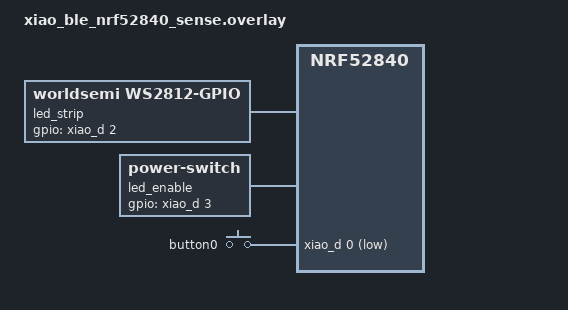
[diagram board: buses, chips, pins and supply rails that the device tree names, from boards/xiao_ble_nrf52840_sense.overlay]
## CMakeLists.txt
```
#-------------------------------------------------------------------------------
# Zephyr Example Application
#
# Copyright (c) 2021 Nordic Semiconductor ASA
# SPDX-License-Identifier: Apache-2.0

cmake_minimum_required(VERSION 3.13.1)
find_package(Zephyr REQUIRED HINTS $ENV{ZEPHYR_BASE})

project(app LANGUAGES C)

target_sources(app PRIVATE src/main.c)
target_sources(app PRIVATE src/orientation.c)
target_sources(app PRIVATE src/hsv2rgb.c)
target_sources(app PRIVATE src/bleled.c)
target_sources(app PRIVATE src/blename.c)
```

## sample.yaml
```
sample:
  description: Hello World sample, the simplest Zephyr
    application
  name: hello world
common:
  tags: introduction
  integration_platforms:
    - native_sim
  harness: console
  harness_config:
    type: one_line
    regex:
      - "Hello World! (.*)"
tests:
  sample.basic.helloworld:
    tags: introduction
```

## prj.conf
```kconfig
# Copyright (c) 2021 Nordic Semiconductor ASA
# SPDX-License-Identifier: Apache-2.0
#
# This file contains selected Kconfig options for the application.
CONFIG_SYSTEM_WORKQUEUE_STACK_SIZE=4096

CONFIG_GPIO=y # loadswitch
CONFIG_LOG=y
CONFIG_LED_STRIP=y # LEDs
CONFIG_LED_STRIP_LOG_LEVEL_DBG=y #LEDs
CONFIG_PM_DEVICE=y # Sleep
CONFIG_POWEROFF=y #Sleep
CONFIG_I2C=y
CONFIG_SENSOR=y
CONFIG_LSM6DSL_TRIGGER_GLOBAL_THREAD=y

CONFIG_CBPRINTF_FP_SUPPORT=y
CONFIG_STDOUT_CONSOLE=y


CONFIG_BT=y
CONFIG_BT_PERIPHERAL=y
CONFIG_BT_DEVICE_NAME="Yoyo"
CONFIG_BT_DEVICE_APPEARANCE=0

CONFIG_BT_DEVICE_NAME_DYNAMIC=y
CONFIG_HEAP_MEM_POOL_SIZE=4096
CONFIG_ASSERT=y
CONFIG_MULTITHREADING=y
# CONFIG_SMP=y
CONFIG_MAIN_THREAD_PRIORITY=10

CONFIG_NET_BUF_LOG_LEVEL_OFF=y
CONFIG_BT_LOG_LEVEL_OFF=y
CONFIG_FLASH=y
```

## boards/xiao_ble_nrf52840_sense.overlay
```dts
#include <zephyr/dt-bindings/gpio/gpio.h>
#include <zephyr/dt-bindings/led/led.h>
#include <zephyr/dt-bindings/input/input-event-codes.h>

/ {
    cpus {
		// needed for correct ws2812 timing
        cpu@0 {
            clock-frequency = <64000000>;
        };
    };
	led_strip: ws2812 {
		compatible = "worldsemi,ws2812-gpio";

		chain-length = <150>; /* arbitrary; change at will */
		color-mapping = <LED_COLOR_ID_GREEN
				 LED_COLOR_ID_RED
				 LED_COLOR_ID_BLUE>;
		/* P0: */
		gpios = <&xiao_d 2 GPIO_ACTIVE_HIGH>;
        reset-delay = <3200>;

        delay-t1h = <51>;
        delay-t1l = <29>;
        delay-t0h = <26>;
        delay-t0l = <54>;
	};

    led_enable: led_enable {
        compatible = "power-switch";
		gpios = <&xiao_d 3 GPIO_ACTIVE_HIGH>;
	};

	buttons {
		compatible = "gpio-keys";
		no-disconnect;
		debounce-interval-ms = <0>;
		button0: button_0 {
			gpios = <&xiao_d 0 GPIO_ACTIVE_LOW>;
		};
	};

	aliases {
		led-strip = &led_strip;
		led-enable = &led_enable;
		sw0 = &button0;
	};


};
```

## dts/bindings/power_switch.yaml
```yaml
# Copyright (c) 2023 Libre Solar Technologies GmbH
# SPDX-License-Identifier: Apache-2.0

description: GPIO pin to switch a power output on or off

compatible: "power-switch"

properties:
  gpios:
    type: phandle-array
    required: true
    description: |
      The GPIO connected to the gate driver for the MOSFET.
```

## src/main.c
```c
/*
 * Copyright (c) 2017 Linaro Limited
 * Copyright (c) 2018 Intel Corporation
 * Copyright (c) 2024 TOKITA Hiroshi
 *
 * SPDX-License-Identifier: Apache-2.0
 */

#include <errno.h>
#include <string.h>
#include <math.h>

#include <zephyr/logging/log.h>

#include <zephyr/kernel.h>
#include <zephyr/drivers/led_strip.h>
#include <zephyr/device.h>
#include <zephyr/sys/util.h>
#include <zephyr/drivers/gpio.h>
#include <zephyr/sys/poweroff.h>
#include <zephyr/pm/device.h>
#include <zephyr/drivers/timer/nrf_grtc_timer.h>
#include <zephyr/drivers/sensor.h>
#include <zephyr/bluetooth/bluetooth.h>
#include <zephyr/bluetooth/hci.h>
#include <zephyr/bluetooth/conn.h>
#include <zephyr/bluetooth/uuid.h>
#include <zephyr/bluetooth/gatt.h>
#include <zephyr/settings/settings.h>
#include <zephyr/sys/printk.h>
#include <zephyr/sys/byteorder.h>
#include <zephyr/drivers/flash.h>


#include "orientation.h"
#include "hsv2rgb.h"
#include "bleled.h"
#include "blename.h"

// #define DEBUG

// Define Devicetree Aliases
#define STRIP_NODE		DT_ALIAS(led_strip)

#if DT_NODE_HAS_PROP(DT_ALIAS(led_strip), chain_length)
#define STRIP_NUM_PIXELS	DT_PROP(DT_ALIAS(led_strip), chain_length)
#else
#error Unable to determine length of LED strip
#endif
#define SPI_FLASH_COMPAT nordic_qspi_nor

// define bluetooth characteristic UUID
#define RX_CHARACTERISTIC  0x94, 0xF5, 0x56, 0x67, 0x86, 0x49, 0x1D, 0xA4, \
			                    0x34, 0x41, 0x32, 0x69, 0x00, 0x0D, 0x9F, 0x9D
#define RX_CHARACTERISTIC_UUID  BT_UUID_DECLARE_128(RX_CHARACTERISTIC)

static K_SEM_DEFINE(ble_init_ok, 0, 1);

bool update = false;

#define CONFIG_SAMPLE_LED_UPDATE_DELAY 50
#define DELAY_TIME K_MSEC(CONFIG_SAMPLE_LED_UPDATE_DELAY)

#define LED_ENABLE DT_ALIAS(led_enable)
#define BUTTON0 DT_ALIAS(sw0)

static const struct device *const strip = DEVICE_DT_GET(STRIP_NODE);
static const struct gpio_dt_spec enable = GPIO_DT_SPEC_GET(LED_ENABLE, gpios);
static const struct gpio_dt_spec button = GPIO_DT_SPEC_GET_OR(BUTTON0, gpios, {0});
static const struct device *flash_dev = DEVICE_DT_GET_ONE(SPI_FLASH_COMPAT);
const struct device *const lsm6dsl_dev = DEVICE_DT_GET_ONE(st_lsm6dsl);
const struct device *const cons = DEVICE_DT_GET(DT_CHOSEN(zephyr_console));

static uint32_t prevTimeMs;

static bool orientationInit;
struct bt_conn* currConn;
static char name[MAX_NAME_LENGTH + 1];

#define MAX_BRIGHTNESS 0x25
// Create RGB Colors
#define RGB(_r, _g, _b) { .r = (_r), .g = (_g), .b = (_b) }

static const struct led_rgb red = RGB(MAX_BRIGHTNESS, 0x00, 0x00);
static struct led_rgb bluetoothColor = RGB(0x00, 0x00, MAX_BRIGHTNESS);

static struct gpio_callback button_cb_data;

static struct led_rgb pixels[STRIP_NUM_PIXELS];

enum STATE {
	OFF, BLUETOOTH, FIXED, WAVE, IMU
};

volatile enum STATE currentState = BLUETOOTH;
static bool bleOn = false;

static enum STATE nextState(enum STATE currentState) {
	switch(currentState){
		case OFF:
			return FIXED;
			break;
		case BLUETOOTH:
			return FIXED;
			break;
		case FIXED:
			return WAVE;
			break;
		case WAVE:
			return IMU;
			break;
		case IMU:
			return OFF;
			break;
	}
	return FIXED;
}

// button callback to switch states
void buttonPressed(const struct device *dev, struct gpio_callback *cb, uint32_t pins) {
	currentState = nextState(currentState);
}

// Sensor callbacks to update position
static void lsm6dsl_trigger_handler(const struct device *dev,
				    const struct sensor_trigger *trig)
{
	uint32_t currTimeMs = k_uptime_get_32();
	static struct sensor_value accel_x, accel_y, accel_z;
	static struct sensor_value gyro_x, gyro_y, gyro_z;

	sensor_sample_fetch_chan(dev, SENSOR_CHAN_ACCEL_XYZ);
	sensor_channel_get(dev, SENSOR_CHAN_ACCEL_X, &accel_x);
	sensor_channel_get(dev, SENSOR_CHAN_ACCEL_Y, &accel_y);
	sensor_channel_get(dev, SENSOR_CHAN_ACCEL_Z, &accel_z);

	// x -> pitch, y -> roll, z -> yaw
	sensor_sample_fetch_chan(dev, SENSOR_CHAN_GYRO_XYZ);
	sensor_channel_get(dev, SENSOR_CHAN_GYRO_X, &gyro_x);
	sensor_channel_get(dev, SENSOR_CHAN_GYRO_Y, &gyro_y);
	sensor_channel_get(dev, SENSOR_CHAN_GYRO_Z, &gyro_z);

	double accYval = sensor_value_to_double(&accel_y) * 3.1415 / 180.0;
	double accXval = sensor_value_to_double(&accel_x) * 3.1415 / 180.0;
	double accZval = sensor_value_to_double(&accel_z) * 3.1415 / 180.0;

	double pitch = atan2(accYval, accZval);
	double roll = atan2(accXval, accZval);

	if (!orientationInit) {
		initialize(pitch, roll, 0.0);
		orientationInit = true;
	}
	else {
		update_pitch(pitch, sensor_value_to_double(&gyro_x), (currTimeMs - prevTimeMs)/1000.0);
		update_roll(roll, sensor_value_to_double(&gyro_y), (currTimeMs - prevTimeMs)/1000.0);
		update_yaw(sensor_value_to_double(&gyro_z), (currTimeMs - prevTimeMs)/1000.0);
	}

	prevTimeMs = currTimeMs;
}

// BLE characteristics
#define DEVICE_NAME CONFIG_BT_DEVICE_NAME
#define DEVICE_LEN (sizeof(DEVICE_NAME)-1)

static uint8_t mfg_data[] = { 'B', 'a', 't', 'k', 'a', 'y' };

static const struct bt_data ad[] = {
	BT_DATA_BYTES(BT_DATA_FLAGS, (BT_LE_AD_GENERAL | BT_LE_AD_NO_BREDR)),
	BT_DATA_BYTES(BT_DATA_UUID128_ALL, RX_CHARACTERISTIC),
	BT_DATA(BT_DATA_MANUFACTURER_DATA, mfg_data, 6),
};

static struct bt_data sd[] = {
	BT_DATA(BT_DATA_NAME_COMPLETE, CONFIG_BT_DEVICE_NAME, sizeof(CONFIG_BT_DEVICE_NAME) - 1),
};

// bluetooth connection callback
static void connected(struct bt_conn *conn, uint8_t err)
{
	#ifdef DEBUG
	if (err) {
		printk("Connection failed, err 0x%02x %s\n", err, bt_hci_err_to_str(err));
	} else {
		printk("Connected\n");
	}
	#endif
	if (!bleOn) {
		bt_conn_disconnect(conn, BT_HCI_ERR_REMOTE_USER_TERM_CONN);
	}
	currConn = conn;
}

// bluetooth disconnect callback
static void disconnected(struct bt_conn *conn, uint8_t reason)
{
	#ifdef DEBUG
	printk("Disconnected, reason 0x%02x %s\n", reason, bt_hci_err_to_str(reason));
	#endif

	if (get_modified_name()) {
		get_name(name, MAX_NAME_LENGTH + 1);
	}
	sd ->data = name;
	sd ->data_len = strlen(name);

	// bt_le_adv_stop();

	bt_conn_unref(conn);
	bt_le_adv_start(BT_LE_ADV_CONN_FAST_1, ad, ARRAY_SIZE(ad), sd, ARRAY_SIZE(sd));
	bt_conn_ref(conn);
	currConn = NULL;
}

BT_CONN_CB_DEFINE(conn_callbacks) = {
	.connected = connected,
	.disconnected = disconnected,
};

// Define bluetooth characteristics
BT_GATT_SERVICE_DEFINE(led_service,
	BT_GATT_PRIMARY_SERVICE(RX_CHARACTERISTIC_UUID),
	BT_GATT_CHARACTERISTIC(LED_SERVICE_UUID,
				BT_GATT_CHRC_READ | BT_GATT_CHRC_WRITE | BT_GATT_CHRC_EXT_PROP,
				BT_GATT_PERM_READ | BT_GATT_PERM_WRITE | BT_GATT_PERM_PREPARE_WRITE,
				read_led, on_receive_led, &bluetoothColor),
	BT_GATT_CHARACTERISTIC(NAME_SERVICE_UUID, 
					BT_GATT_CHRC_READ | BT_GATT_CHRC_WRITE | BT_GATT_CHRC_EXT_PROP,
					BT_GATT_PERM_READ | BT_GATT_PERM_WRITE |
			       	BT_GATT_PERM_PREPARE_WRITE,
			       	read_name, on_receive_name, &name),
);

// Initialize bluetooth
static void bt_ready()
{
	int err = 0;

	//Start advertising
	err = bt_le_adv_start(BT_LE_ADV_CONN_FAST_1, ad, ARRAY_SIZE(ad),
			      sd, ARRAY_SIZE(sd));
	if (err) 
	{
		#ifdef DEBUG
		printk("Advertising failed to start (err %d)\n", err);
		#endif
		return;
	}
	#ifdef DEBUG
	printk("Advertising successfully started\n");
	#endif

	//Initalize services
	k_sem_give(&ble_init_ok);

}

// test method to try disconnecting all connected devices
static void disconnect_device(struct bt_conn *conn, void *user_data)
{
    int err;
    struct bt_conn_info info;

	/* Check if the connection is still active */
    /* Retrieve connection information */
    err = bt_conn_get_info(conn, &info);
    if (err) {
		#ifdef DEBUG
        printk("Failed to get connection info: %d\n", err);
		#endif
        return;
    }

    /* Check if the connection is in the connected state */
    if (info.state != BT_CONN_STATE_CONNECTED || info.state != BT_CONN_STATE_CONNECTING) {
		#ifdef DEBUG
        printk("Device already disconnected or in invalid state\n");
		#endif
        return;
    }

    /* Disconnect the device */
    err = bt_conn_disconnect(conn, BT_HCI_ERR_REMOTE_USER_TERM_CONN);
	#ifdef DEBUG
    if (err) {
        printk("Failed to disconnect device: %d\n", err);
    } else {
        printk("Device disconnected successfully\n");
    }
	#endif
}

int main(void)
{
	int err = 0;
	// read flash
	if (!device_is_ready(flash_dev)) {
		#ifdef DEBUG
		printk("%s: flash not ready.\n", flash_dev->name);
		#endif
		return 0;
	}

	uint8_t prevR = 0;
	uint8_t prevG = 0;
	uint8_t prevB = MAX_BRIGHTNESS;

	memcpy(name, &"Yo-Yo", sizeof("Yo-Yo"));

	uint8_t flash_results[4 + MAX_NAME_LENGTH + 1];

	err = flash_read(flash_dev, 0, flash_results, 4 + MAX_NAME_LENGTH);
	if (err) {
		#ifdef DEBUG
		printf("Flash read failed! %d\n", err);
		#endif
		return 0;
	}

	if (flash_results[0]) {
		// flash not empty
		prevR = flash_results[1];
		prevG = flash_results[2];
		prevB = flash_results[3];

		if (strlen(&flash_results[4]) > 0) {
			flash_results[MAX_NAME_LENGTH + 4] ='\0';
			memcpy(name, &flash_results[4], MAX_NAME_LENGTH + 1);
			name[MAX_NAME_LENGTH] = '\0';

			#ifdef DEBUG
			printk("New name ");
			#endif
		}
		
	}
	else {
		#ifdef DEBUG
		printk("Flash empty");
		#endif
	}
	#ifdef DEBUG
	printk("%s", name);
	#endif

	sd ->data = name;
	sd ->data_len = strlen(name);

	// enable bluetooth
	err = bt_enable(bt_ready);
	if (err) {
		#ifdef DEBUG
		printk("Bluetooth init failed (err %d)\n", err);
		#endif
		return 0;
	}

	// wait for BT to init
	err = k_sem_take(&ble_init_ok, K_MSEC(500));

	if (err) {
		#ifdef DEBUG
		printk("BLE init did not complete in time");
		#endif
		return 0;
	}

	err = led_service_init(prevR, prevG, prevB);
	bluetoothColor.r = prevR;
	bluetoothColor.g = prevG;
	bluetoothColor.b = prevB;

	if (err) {
		#ifdef DEBUG
		printk("Failed to init lightbox (err:%d)\n", err);
		#endif
		return 0;
	}

	// setup load switch GPIO
	if (!gpio_is_ready_dt(&enable)) {
		#ifdef DEBUG
		printf("LED enable is not ready");
		#endif
		return 0;
	}

	err = gpio_pin_configure_dt(&enable, GPIO_OUTPUT_ACTIVE);
	if (err) {
		#ifdef DEBUG
		printf("LED is not configured");
		#endif
		return 0;
	}

	// Setup user push button
	err = gpio_pin_configure_dt(&button, (GPIO_INPUT));
	if (err) {
		#ifdef DEBUG
		printk("Error %d: failed to configure button", err);
		#endif
		return 0;
	}

	err = gpio_pin_interrupt_configure_dt(&button, ( GPIO_INT_EDGE_TO_ACTIVE));
	if (err) {
		#ifdef DEBUG
		printf("Could not configure sw0 GPIO interrupt (%d)\n", err);
		#endif
		return 0;
	}

	gpio_init_callback(&button_cb_data, buttonPressed, BIT(button.pin));
	gpio_add_callback(button.port, &button_cb_data);

	#ifdef DEBUG
	printk("Set up button at %s pin %d\n", button.port->name, button.pin);
	#endif

	// // Setup LED Strip
	if (device_is_ready(strip)) {
		#ifdef DEBUG
		printf("Found LED strip device %s", strip->name);
		#endif
	} 
	else {
		#ifdef DEBUG
		printf("LED strip device %s is not ready", strip->name);
		#endif
		return 0;
	}


	// Setup IMU
	if (!device_is_ready(lsm6dsl_dev)) {
		#ifdef DEBUG
		printk("sensor: device not ready.\n");
		#endif
		return 0;
	}

	orientationInit = false;

	struct sensor_value odr_attr;
	/* set accel/gyro sampling frequency to 104 Hz */
	odr_attr.val1 = 104;
	odr_attr.val2 = 0;

	err = sensor_attr_set(lsm6dsl_dev, SENSOR_CHAN_ACCEL_XYZ,
			    SENSOR_ATTR_SAMPLING_FREQUENCY, &odr_attr);
	if (err) {
		#ifdef DEBUG
		printk("Cannot set sampling frequency for accelerometer.\n");
		#endif
		return 0;
	}

	err = sensor_attr_set(lsm6dsl_dev, SENSOR_CHAN_GYRO_XYZ,
			    SENSOR_ATTR_SAMPLING_FREQUENCY, &odr_attr);
	if (err) {
		#ifdef DEBUG
		printk("Cannot set sampling frequency for gyro.\n");
		#endif
		return 0;
	}

	struct sensor_trigger trig;

	trig.type = SENSOR_TRIG_DATA_READY;
	trig.chan = SENSOR_CHAN_ACCEL_XYZ;

	err = sensor_trigger_set(lsm6dsl_dev, &trig, lsm6dsl_trigger_handler);
	if (err) {
		#ifdef DEBUG
		printk("Could not set sensor type and channel\n");
		#endif
		return 0;
	}
	err = sensor_sample_fetch(lsm6dsl_dev);
	if (err) {
		#ifdef DEBUG
		printk("Sensor sample update error\n");
		#endif
		return 0;
	}

	// Makes BLE more consistent for some reason?
	k_sleep(DELAY_TIME);
	gpio_pin_set_dt(&enable, GPIO_OUTPUT_ACTIVE);
	
	int idx = 0;

	bool btOn1 = true;
	bool btOn2 = true;
	bleOn = true;
	bool sensorInit = false;
	#ifdef DEBUG
	printf("Displaying pattern on strip");
	#endif
	while (1) {		
		switch(currentState) {
			case OFF:
				gpio_pin_set_dt(&enable, GPIO_OUTPUT_INACTIVE);

				memset(&pixels, 0x00, sizeof(pixels));
				for (size_t cursor = 0; cursor < STRIP_NUM_PIXELS; cursor++) {
					memcpy(&pixels[cursor], &(struct led_rgb) RGB(0, 0, 0), sizeof(struct led_rgb));
				}
				err = led_strip_update_rgb(strip, pixels, STRIP_NUM_PIXELS);
				if (err) {
					#ifdef DEBUG
					printf("couldn't update strip: %d", err);
					#endif
				}
				err = gpio_pin_interrupt_configure_dt(&button, 	GPIO_INT_LEVEL_ACTIVE);
				if (err) {
					#ifdef DEBUG
					printf("Could not configure sw0 GPIO interrupt (%d)\n", err);
					#endif
					return 0;
				}

				err = pm_device_action_run(cons, PM_DEVICE_ACTION_SUSPEND);	
				if (err) {
					#ifdef DEBUG
					printf("Could not suspend console (%lu)\n", RTC_EVENTS_TICK_EVENTS_TICK_Pos);
					#endif
				}
				sys_poweroff();
				break;
			case BLUETOOTH:
				if (get_updated()) {

					// get_led_data(&bluetoothColor);

					if (bluetoothColor.r > MAX_BRIGHTNESS) {
						bluetoothColor.r = MAX_BRIGHTNESS;
					}
					if (bluetoothColor.g > MAX_BRIGHTNESS) {
						bluetoothColor.g = MAX_BRIGHTNESS;
					}
					if (bluetoothColor.b > MAX_BRIGHTNESS) {
						bluetoothColor.b = MAX_BRIGHTNESS;
					}

					flash_results[0] = 1;
					flash_results[1] = bluetoothColor.r;
					flash_results[2] = bluetoothColor.g;
					flash_results[3] = bluetoothColor.b;
					#ifdef DEBUG
					printk("r: %i g: %i b: %i", bluetoothColor.r, bluetoothColor.g, bluetoothColor.b);
					#endif
					memset(&pixels, 0x00, sizeof(pixels));
					for (size_t cursor = 0; cursor < STRIP_NUM_PIXELS; cursor++) {
						memcpy(&pixels[cursor], &bluetoothColor, sizeof(struct led_rgb));
					}
					update = true;

				}

				break;
			case FIXED:
				// Jank solution to disconnect all BT before turning it off.
				// Improves consistency for some reason
				if (btOn1) {
					if (currConn) {
						err = bt_conn_disconnect(currConn, BT_HCI_ERR_REMOTE_USER_TERM_CONN);
						if (err) {
							printk("Failed to disconnect device: %d\n", err);
						} else {
							printk("Device disconnected successfully\n");
						}
					}
					bt_conn_foreach(BT_CONN_TYPE_LE, disconnect_device, NULL);
					bt_le_adv_stop();

					bleOn = false;
					btOn1 = false;

					memset(&pixels, 0x00, sizeof(pixels));
					for (size_t cursor = 0; cursor < STRIP_NUM_PIXELS; cursor++) {
						memcpy(&pixels[cursor], &red, sizeof(struct led_rgb));
					}
					update = true;
				}
				break;
			case WAVE:
				if (btOn2) {
					bt_disable();
					btOn2 = false;
				}

				// write to flash
				if (flash_results[0] && (get_modified_led() || get_modified_name())) {
					err = flash_erase(flash_dev, 0, 4096);
					if (err) {
						#ifdef DEBUG
						printk("failed to erase");
						#endif
					}
					flash_results[0] = 1;
					flash_results[1] = bluetoothColor.r;
					flash_results[2] = bluetoothColor.g;
					flash_results[3] = bluetoothColor.b;
					// if (get_modified_name()) {
					// 	get_name(&flash_results[4], MAX_NAME_LENGTH + 1);
					// }
					memcpy(&flash_results[4], name, MAX_NAME_LENGTH + 1);

					err = flash_write(flash_dev, 0, flash_results, 4 + MAX_NAME_LENGTH);
					if (err) {
						#ifdef DEBUG
						printf("Flash write failed! %d\n", err);
						#endif
					}
					#ifdef DEBUG
					printf("Flash written");
					#endif
					flash_results[0] = 0;
				}
				
				memset(&pixels, 0x00, sizeof(pixels));
				for (size_t cursor = 0; cursor < STRIP_NUM_PIXELS; cursor++) {
					bluetoothColor = hsv2rgb((cursor + idx) % 360, 100, (MAX_BRIGHTNESS)/255.0 * 100);
					memcpy(&pixels[cursor], &bluetoothColor, sizeof(struct led_rgb));
				}
				update = true;
				// idx = (idx + 1) % (3 * STRIP_NUM_PIXELS);
				idx = (idx + 8) % 360;
				break;
			case IMU:
				if (!sensorInit) {
					sensorInit = true;
				}
				double rotation_magnitude = sqrt(pow(get_delta_pitch(), 2) + pow(get_delta_roll(), 2));
				
				if (rotation_magnitude > 1) {
					idx += (int) rotation_magnitude;
					idx = idx % (360);
				}

				bluetoothColor = hsv2rgb(idx, 100, (MAX_BRIGHTNESS)/255.0 * 100);

				memset(&pixels, 0x00, sizeof(pixels));
				for (size_t cursor = 0; cursor < STRIP_NUM_PIXELS; cursor++) {
					memcpy(&pixels[cursor], &bluetoothColor, sizeof(struct led_rgb));
				}
				update = true;

				#ifdef DEBUG
				printf("Pitch:%f,Yaw:%f,Roll:%f\n", get_delta_pitch(), get_delta_yaw(), get_delta_roll());
				#endif
				break;
		}
		
		if (update) {
			err = led_strip_update_rgb(strip, pixels, STRIP_NUM_PIXELS);
			if (err) {
				#ifdef DEBUG
				printf("couldn't update strip: %d", err);
				#endif
			}
			update = false;
		}

		k_sleep(DELAY_TIME);
	}

	return 0;
}
```

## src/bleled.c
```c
/***
 * Characteristic to handle colors. Updates will show up on LED in bluetooth state
 */
#include "bleled.h"

#include <zephyr/drivers/led_strip.h>


struct led_rgb saved_color;
static bool updated;
static bool modified;

int led_service_init(int r, int g, int b)
{
    int err = 0;

    saved_color.b = b;
    saved_color.r = r;
    saved_color.g = g;
    updated = true;
    modified = false;

    return err;
}

void get_led_data(struct led_rgb *buf) {
    // memcpy(buf, &saved_color, sizeof(struct led_rgb));
    buf->r = saved_color.r;
    buf->g = saved_color.g;
    buf->b = saved_color.b;
}

bool get_updated() {
    if (updated) {
        updated = false;
        return true;
    }
    return false;
}

bool get_modified_led() {
    return modified;
}

ssize_t on_receive_led(struct bt_conn *conn,
			  const struct bt_gatt_attr *attr,
			  const void *buf,
			  uint16_t len,
			  uint16_t offset,
			  uint8_t flags)
{
    uint8_t *value = attr->user_data;
    if (len != sizeof(saved_color)) {
        return BT_GATT_ERR(BT_ATT_ERR_INVALID_OFFSET);
    }
    // // memcpy(&saved_color, value, sizeof(saved_color));
    // saved_color.r = value[1];
    // saved_color.g = value[2];
    // saved_color.b = value[3];

    // uint8_t *value = attr->user_data;

	memcpy(value + offset, buf, len);
	// value[offset + len] = 0;

    updated = true;
    modified = true;

    return len;
}

ssize_t read_led(struct bt_conn *conn, const struct bt_gatt_attr *attr,
			void *buf, uint16_t len, uint16_t offset)
{
	const char *value = attr->user_data;

	return bt_gatt_attr_read(conn, attr, buf, len, offset, value,
				 sizeof(struct led_rgb));
}
```

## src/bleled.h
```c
#pragma once


#include <zephyr/bluetooth/bluetooth.h>
#include <zephyr/bluetooth/hci.h>
#include <zephyr/bluetooth/conn.h>
#include <zephyr/bluetooth/uuid.h>
#include <zephyr/bluetooth/gatt.h>
#include <zephyr/drivers/led_strip.h>

#define LED_SERVICE       0x94, 0xF5, 0x56, 0x67, 0x86, 0x49, 0x1D, 0xA4, \
						0x34, 0x41, 0x32, 0x69, 0x01, 0x0D, 0x9F, 0x9D
#define LED_SERVICE_UUID       BT_UUID_DECLARE_128(LED_SERVICE)

int led_service_init(int r, int g, int b);
void get_led_data(struct led_rgb *buf);
bool get_updated();
bool get_modified_led();
ssize_t on_receive_led(struct bt_conn *conn,
			  const struct bt_gatt_attr *attr,
			  const void *buf,
			  uint16_t len,
			  uint16_t offset,
			  uint8_t flags);
ssize_t read_led(struct bt_conn *conn, const struct bt_gatt_attr *attr,
			void *buf, uint16_t len, uint16_t offset);
```

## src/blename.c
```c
/***
 * Takes care of name bluetooth characteristic. Updates to name here will change advertising name
 */
#include "blename.h"

#include <zephyr/drivers/led_strip.h>


static char* name[MAX_NAME_LENGTH + 1];
static bool initialized = false;

void get_name(char* name_buf, int len_buf) {
    if (len_buf < MAX_NAME_LENGTH + 1) {
        return;
    }

    if (!initialized) {
        return;
    }

    memcpy(name_buf, name, MAX_NAME_LENGTH + 1);
}

bool get_modified_name() {
    return initialized;
}


ssize_t on_receive_name(struct bt_conn *conn,
			  const struct bt_gatt_attr *attr,
			  const void *buf,
			  uint16_t len,
			  uint16_t offset,
			  uint8_t flags)
{
	uint8_t *value = attr->user_data;

	if (flags & BT_GATT_WRITE_FLAG_PREPARE) {
		return 0;
	}

	if (offset + len > MAX_NAME_LENGTH) {
		return BT_GATT_ERR(BT_ATT_ERR_INVALID_OFFSET);
	}

	memcpy(value + offset, buf, len);
    
    value[len + 1] = '\0';
	value[MAX_NAME_LENGTH + 1] = '\0';
    initialized = true;

	return len;
}

ssize_t read_name(struct bt_conn *conn, const struct bt_gatt_attr *attr,
			void *buf, uint16_t len, uint16_t offset)
{
	const char *value = attr->user_data;

	return bt_gatt_attr_read(conn, attr, buf, len, offset, value,
				 strlen(value));
}
```

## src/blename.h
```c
#pragma once


#include <zephyr/bluetooth/bluetooth.h>
#include <zephyr/bluetooth/hci.h>
#include <zephyr/bluetooth/conn.h>
#include <zephyr/bluetooth/uuid.h>
#include <zephyr/bluetooth/gatt.h>

#define NAME_SERVICE       0x94, 0xF5, 0x56, 0x67, 0x86, 0x49, 0x1D, 0xA4, \
							0x34, 0x41, 0x32, 0x69, 0x02, 0x0D, 0x9F, 0x9D
#define NAME_SERVICE_UUID       BT_UUID_DECLARE_128(NAME_SERVICE)

#define MAX_NAME_LENGTH 20

void get_name(char* name_buf, int len_buf);
bool get_modified_name();
ssize_t on_receive_name(struct bt_conn *conn,
			  const struct bt_gatt_attr *attr,
			  const void *buf,
			  uint16_t len,
			  uint16_t offset,
			  uint8_t flags);

ssize_t read_name(struct bt_conn *conn, const struct bt_gatt_attr *attr,
			void *buf, uint16_t len, uint16_t offset);
```

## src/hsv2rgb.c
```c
#include "hsv2rgb.h"
#include <math.h>

struct led_rgb hsv2rgb(float H, float S, float V) {
	float r, g, b;
	
	float h = H / 360;
	float s = S / 100;
	float v = V / 100;
	
	int i = floor(h * 6);
	float f = h * 6 - i;
	float p = v * (1 - s);
	float q = v * (1 - f * s);
	float t = v * (1 - (1 - f) * s);
	
	switch (i % 6) {
		case 0: r = v, g = t, b = p; break;
		case 1: r = q, g = v, b = p; break;
		case 2: r = p, g = v, b = t; break;
		case 3: r = p, g = q, b = v; break;
		case 4: r = t, g = p, b = v; break;
		case 5: r = v, g = p, b = q; break;
		default: r = v, g = t, b = p; break;
	}
	
	struct led_rgb color;
	color.r = r * 255;
	color.g = g * 255;
	color.b = b * 255;
	
	return color;
}
```

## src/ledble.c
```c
#include "ledble.h"

#include <zephyr/drivers/led_strip.h>


static struct led_rgb saved_color;
static bool updated;
static bool modified;

int led_service_init(int r, int g, int b)
{
    int err = 0;

    saved_color.b = b;
    saved_color.r = r;
    saved_color.g = g;
    updated = true;
    modified = false;

    return err;
}

void get_led_data(struct led_rgb *buf) {
    // memcpy(buf, &saved_color, sizeof(struct led_rgb));
    buf->r = saved_color.r;
    buf->g = saved_color.g;
    buf->b = saved_color.b;
}

bool get_updated() {
    if (updated) {
        updated = false;
        return true;
    }
    return false;
}

bool get_modified_led() {
    return modified;
}

ssize_t on_receive_led(struct bt_conn *conn,
			  const struct bt_gatt_attr *attr,
			  const void *buf,
			  uint16_t len,
			  uint16_t offset,
			  uint8_t flags)
{
    const uint8_t *value = buf;
    if (len != sizeof(saved_color)) {
        return len;
    }
    // memcpy(&saved_color, value, sizeof(saved_color));
    saved_color.r = value[1];
    saved_color.g = value[2];
    saved_color.b = value[3];

    updated = true;
    modified = true;

    return len;
}
```

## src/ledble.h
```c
#pragma once


#include <zephyr/bluetooth/bluetooth.h>
#include <zephyr/bluetooth/hci.h>
#include <zephyr/bluetooth/conn.h>
#include <zephyr/bluetooth/uuid.h>
#include <zephyr/bluetooth/gatt.h>
#include <zephyr/drivers/led_strip.h>

#define LED_SERVICE       0xd4, 0x86, 0x48, 0x24, 0x54, 0xB3, 0x43, 0xA1, \
			            0xBC, 0x20, 0x97, 0x8F, 0xC3, 0x76, 0xC2, 0x75
#define LED_SERVICE_UUID       BT_UUID_DECLARE_128(LED_SERVICE)

int led_service_init(int r, int g, int b);
void get_led_data(struct led_rgb *buf);
bool get_updated();
bool get_modified_led();
ssize_t on_receive_led(struct bt_conn *conn,
			  const struct bt_gatt_attr *attr,
			  const void *buf,
			  uint16_t len,
			  uint16_t offset,
			  uint8_t flags);
```

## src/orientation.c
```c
#include "orientation.h"


static double pitch;
static double roll;
static double yaw;

static double delta_pitch;
static double delta_roll;
static double delta_yaw;

void initialize(double initial_pitch, double initial_roll, double initial_yaw) {
    pitch = initial_pitch;
    roll = initial_roll;
    yaw = initial_yaw;
}

static void update_angle(double* angle, double* delta_angle, double acc, double gyro, double dt) {
    double prev_angle = *angle;
    *angle = 0.98 * (gyro*dt + (*angle)) + 0.02 * acc;

    *delta_angle = (*angle - prev_angle)/dt;

    while (*angle > 3.1415) {
        *angle -= 2 * 3.1415;
    }
    while (*angle < -3.1415) {
        *angle += 2 * 3.1415;
    }
}

void update_pitch(double acc, double gyro, double dt) {
    update_angle(&pitch, &delta_pitch, acc, gyro, dt);
}

void update_roll(double acc, double gyro, double dt) {
    update_angle(&roll, &delta_roll, acc, gyro, dt);
}

void update_yaw(double gyro, double dt) {
    yaw += gyro * dt;
    delta_yaw = gyro;

    while (yaw > 3.1415) {
        yaw -= 2 * 3.1415;
    }
    while (yaw < -3.1415) {
        yaw += 2 * 3.1415;
    }
}

double get_pitch() {
    return pitch;
}

double get_roll() {
    return roll;
}

double get_yaw() {
    return yaw;
}

double get_delta_pitch() {
    return delta_pitch;
}

double get_delta_roll() {
    return delta_roll;
}

double get_delta_yaw() {
    return delta_yaw;
}
```

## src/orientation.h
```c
#pragma once

void initialize(double initial_pitch, double initial_roll, double initial_yaw);
void update_pitch(double acc, double gyro, double dt);
void update_roll(double acc, double gyro, double dt);
void update_yaw(double gyro, double dt);


double get_pitch();
double get_roll();
double get_yaw();

double get_delta_pitch();
double get_delta_roll();
double get_delta_yaw();
```
